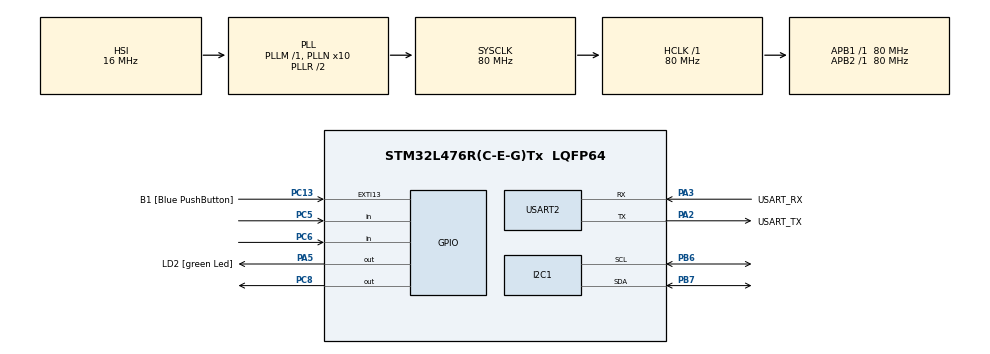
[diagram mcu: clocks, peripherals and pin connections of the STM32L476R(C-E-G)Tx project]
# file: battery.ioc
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I2C1.Timing=0x10D19CE4
Mcu.Family=STM32L4
Mcu.Name=STM32L476R(C-E-G)Tx
Mcu.Package=LQFP64
NVIC.PriorityGroup=NVIC_PRIORITYGROUP_4
PA13\ (JTMS-SWDIO).GPIO_Label=TMS
PA13\ (JTMS-SWDIO).Mode=Serial_Wire
PA13\ (JTMS-SWDIO).Signal=SYS_JTMS-SWDIO
PA14\ (JTCK-SWCLK).GPIO_Label=TCK
PA14\ (JTCK-SWCLK).Mode=Serial_Wire
PA14\ (JTCK-SWCLK).Signal=SYS_JTCK-SWCLK
PA2.GPIO_Label=USART_TX
PA2.GPIO_Mode=GPIO_MODE_AF_PP
PA2.GPIO_PuPd=GPIO_NOPULL
PA2.GPIO_Speed=GPIO_SPEED_FREQ_VERY_HIGH
PA2.Mode=Asynchronous
PA2.Signal=USART2_TX
PA3.GPIO_Label=USART_RX
PA3.GPIO_Mode=GPIO_MODE_AF_PP
PA3.GPIO_PuPd=GPIO_NOPULL
PA3.GPIO_Speed=GPIO_SPEED_FREQ_VERY_HIGH
PA3.Mode=Asynchronous
PA3.Signal=USART2_RX
PA5.GPIO_Label=LD2 [green Led]
PA5.GPIO_ModeDefaultOutputPP=GPIO_MODE_OUTPUT_PP
PA5.GPIO_PuPd=GPIO_NOPULL
PA5.GPIO_Speed=GPIO_SPEED_FREQ_LOW
PA5.Signal=GPIO_Output
PB3\ (JTDO-TRACESWO).GPIO_Label=SWO
PB3\ (JTDO-TRACESWO).Signal=SYS_JTDO-SWO
PB6.GPIO_Pu=GPIO_PULLUP
PB6.Mode=I2C
PB6.Signal=I2C1_SCL
PB7.GPIO_Pu=GPIO_PULLUP
PB7.Mode=I2C
PB7.Signal=I2C1_SDA
PC13.GPIO_Label=B1 [Blue PushButton]
PC13.GPIO_ModeDefaultEXTI=GPIO_MODE_IT_FALLING
PC13.GPIO_PuPd=GPIO_NOPULL
PC13.Signal=GPXTI13
PC14-OSC32_IN\ (PC14).Mode=LSE-External-Oscillator
PC14-OSC32_IN\ (PC14).Signal=RCC_OSC32_IN
PC15-OSC32_OUT\ (PC15).Mode=LSE-External-Oscillator
PC15-OSC32_OUT\ (PC15).Signal=RCC_OSC32_OUT
PC5.GPIO_PuPd=GPIO_NOPULL
PC5.Signal=GPIO_Input
PC6.GPIO_PuPd=GPIO_NOPULL
PC6.Signal=GPIO_Input
PC8.GPIO_ModeDefaultOutputPP=GPIO_MODE_OUTPUT_PP
PC8.GPIO_PuPd=GPIO_PULLDOWN
PC8.Signal=GPIO_Output
PH0-OSC_IN\ (PH0).Signal=RCC_OSC_IN
PH1-OSC_OUT\ (PH1).Signal=RCC_OSC_OUT
ProjectManager.HeapSize=0x200
ProjectManager.StackSize=0x400
ProjectManager.TargetToolchain=STM32CubeIDE
RCC.ADCFreq_Value=64000000
RCC.AHBFreq_Value=80000000
RCC.APB1Freq_Value=80000000
RCC.APB1TimFreq_Value=80000000
RCC.APB2Freq_Value=80000000
RCC.APB2TimFreq_Value=80000000
RCC.CortexFreq_Value=80000000
RCC.HCLKFreq_Value=80000000
RCC.HSE_VALUE=8000000
RCC.HSI_VALUE=16000000
RCC.MSI_VALUE=4000000
RCC.PLLN=10
RCC.PLLSourceVirtual=RCC_PLLSOURCE_HSI
RCC.PREFETCH_ENABLE=1
RCC.SYSCLKFreq_VALUE=80000000
RCC.SYSCLKSource=RCC_SYSCLKSOURCE_PLLCLK
RCC.USBFreq_Value=64000000
RCC.VCOOutputFreq_Value=160000000
USART2.VirtualMode-Asynchronous=VM_ASYNC
board=NUCLEO-L476RG

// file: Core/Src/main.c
/* USER CODE BEGIN Header */
/**
  ******************************************************************************
  * @file           : main.c
  * @brief          : Main program body
  ******************************************************************************
  * @attention
  *
  * Copyright (c) 2025 STMicroelectronics.
  * All rights reserved.
  *
  * This software is licensed under terms that can be found in the LICENSE file
  * in the root directory of this software component.
  * If no LICENSE file comes with this software, it is provided AS-IS.
  *
  ******************************************************************************
  */
/* USER CODE END Header */
#include "main.h"

/* USER CODE BEGIN Includes */
#include <string.h>
#include <stdio.h>
/* USER CODE END Includes */

/* USER CODE BEGIN PTD */
#define INA219_ADDRESS 	0x40
// Calibration value for the INA219 (calculated based on your setup)
#define INA219_CALIBRATION_VALUE 0xA3D3	 // For 0.1 ohm shunt resistor and 3.2A max current
/* USER CODE END PTD */

I2C_HandleTypeDef hi2c1;

UART_HandleTypeDef huart2;

void SystemClock_Config(void);
static void MX_GPIO_Init(void);
static void MX_USART2_UART_Init(void);
static void MX_I2C1_Init(void);
/* USER CODE BEGIN PFP */
void INA219_WriteRegister(uint8_t reg, uint16_t value);
uint16_t INA219_ReadRegister(uint8_t reg);
void INA219_SetCalibration(void);
float INA219_GetCurrent(void);
float INA219_GetBusVoltage(void);
float INA219_GetPower(void);
/* USER CODE END PFP */

/* USER CODE BEGIN 0 */
char msg [60];
/* USER CODE END 0 */

int main(void)
{

  /* MCU Configuration--------------------------------------------------------*/

  /* Reset of all peripherals, Initializes the Flash interface and the Systick. */
  HAL_Init();

  /* Configure the system clock */
  SystemClock_Config();

  /* Initialize all configured peripherals */
  MX_GPIO_Init();
  MX_USART2_UART_Init();
  MX_I2C1_Init();
  /* USER CODE BEGIN 2 */
  INA219_SetCalibration();  // Configure the INA219
  /* USER CODE END 2 */

  /* Infinite loop */
  while (1)
  {

    /* USER CODE BEGIN 3 */
	  float current = INA219_GetCurrent();
	  float voltage = INA219_GetBusVoltage();
	  float power = INA219_GetPower();

	  snprintf(msg, sizeof(msg), "I: %.4f, V: %.2f, P: %.2f \n", current, voltage, power);
	  HAL_Delay(100);
	  HAL_UART_Transmit(&huart2, (uint8_t*)msg, strlen(msg), HAL_MAX_DELAY);

	  if (HAL_GPIO_ReadPin (GPIOC, GPIO_PIN_5)){
		  HAL_GPIO_WritePin(LD2_GPIO_Port, LD2_Pin, GPIO_PIN_SET);
		  if (HAL_GPIO_ReadPin (GPIOC, GPIO_PIN_6)){
			  HAL_GPIO_WritePin(GPIOC, GPIO_PIN_8, GPIO_PIN_SET);
			  HAL_GPIO_TogglePin(LD2_GPIO_Port, LD2_Pin);
		  }
	  }
	  else{
		  HAL_GPIO_WritePin(GPIOC, GPIO_PIN_8, GPIO_PIN_RESET);
		  HAL_GPIO_WritePin(LD2_GPIO_Port, LD2_Pin, GPIO_PIN_RESET);
	  }
  }
  /* USER CODE END 3 */
}

void SystemClock_Config(void)
{
  RCC_OscInitTypeDef RCC_OscInitStruct = {0};
  RCC_ClkInitTypeDef RCC_ClkInitStruct = {0};

  /** Configure the main internal regulator output voltage
  */
  if (HAL_PWREx_ControlVoltageScaling(PWR_REGULATOR_VOLTAGE_SCALE1) != HAL_OK)
  {
    Error_Handler();
  }

  /** Initializes the RCC Oscillators according to the specified parameters
  * in the RCC_OscInitTypeDef structure.
  */
  RCC_OscInitStruct.OscillatorType = RCC_OSCILLATORTYPE_HSI;
  RCC_OscInitStruct.HSIState = RCC_HSI_ON;
  RCC_OscInitStruct.HSICalibrationValue = RCC_HSICALIBRATION_DEFAULT;
  RCC_OscInitStruct.PLL.PLLState = RCC_PLL_ON;
  RCC_OscInitStruct.PLL.PLLSource = RCC_PLLSOURCE_HSI;
  RCC_OscInitStruct.PLL.PLLM = 1;
  RCC_OscInitStruct.PLL.PLLN = 10;
  RCC_OscInitStruct.PLL.PLLP = RCC_PLLP_DIV7;
  RCC_OscInitStruct.PLL.PLLQ = RCC_PLLQ_DIV2;
  RCC_OscInitStruct.PLL.PLLR = RCC_PLLR_DIV2;
  if (HAL_RCC_OscConfig(&RCC_OscInitStruct) != HAL_OK)
  {
    Error_Handler();
  }

  /** Initializes the CPU, AHB and APB buses clocks
  */
  RCC_ClkInitStruct.ClockType = RCC_CLOCKTYPE_HCLK|RCC_CLOCKTYPE_SYSCLK
                              |RCC_CLOCKTYPE_PCLK1|RCC_CLOCKTYPE_PCLK2;
  RCC_ClkInitStruct.SYSCLKSource = RCC_SYSCLKSOURCE_PLLCLK;
  RCC_ClkInitStruct.AHBCLKDivider = RCC_SYSCLK_DIV1;
  RCC_ClkInitStruct.APB1CLKDivider = RCC_HCLK_DIV1;
  RCC_ClkInitStruct.APB2CLKDivider = RCC_HCLK_DIV1;

  if (HAL_RCC_ClockConfig(&RCC_ClkInitStruct, FLASH_LATENCY_4) != HAL_OK)
  {
    Error_Handler();
  }
}

static void MX_I2C1_Init(void)
{

  hi2c1.Instance = I2C1;
  hi2c1.Init.Timing = 0x10D19CE4;
  hi2c1.Init.OwnAddress1 = 0;
  hi2c1.Init.AddressingMode = I2C_ADDRESSINGMODE_7BIT;
  hi2c1.Init.DualAddressMode = I2C_DUALADDRESS_DISABLE;
  hi2c1.Init.OwnAddress2 = 0;
  hi2c1.Init.OwnAddress2Masks = I2C_OA2_NOMASK;
  hi2c1.Init.GeneralCallMode = I2C_GENERALCALL_DISABLE;
  hi2c1.Init.NoStretchMode = I2C_NOSTRETCH_DISABLE;
  if (HAL_I2C_Init(&hi2c1) != HAL_OK)
  {
    Error_Handler();
  }

  /** Configure Analogue filter
  */
  if (HAL_I2CEx_ConfigAnalogFilter(&hi2c1, I2C_ANALOGFILTER_ENABLE) != HAL_OK)
  {
    Error_Handler();
  }

  /** Configure Digital filter
  */
  if (HAL_I2CEx_ConfigDigitalFilter(&hi2c1, 0) != HAL_OK)
  {
    Error_Handler();
  }

}

static void MX_USART2_UART_Init(void)
{

  huart2.Instance = USART2;
  huart2.Init.BaudRate = 115200;
  huart2.Init.WordLength = UART_WORDLENGTH_8B;
  huart2.Init.StopBits = UART_STOPBITS_1;
  huart2.Init.Parity = UART_PARITY_NONE;
  huart2.Init.Mode = UART_MODE_TX_RX;
  huart2.Init.HwFlowCtl = UART_HWCONTROL_NONE;
  huart2.Init.OverSampling = UART_OVERSAMPLING_16;
  huart2.Init.OneBitSampling = UART_ONE_BIT_SAMPLE_DISABLE;
  huart2.AdvancedInit.AdvFeatureInit = UART_ADVFEATURE_NO_INIT;
  if (HAL_UART_Init(&huart2) != HAL_OK)
  {
    Error_Handler();
  }

}

static void MX_GPIO_Init(void)
{
  GPIO_InitTypeDef GPIO_InitStruct = {0};

  /* GPIO Ports Clock Enable */
  __HAL_RCC_GPIOC_CLK_ENABLE();
  __HAL_RCC_GPIOH_CLK_ENABLE();
  __HAL_RCC_GPIOA_CLK_ENABLE();
  __HAL_RCC_GPIOB_CLK_ENABLE();

  /*Configure GPIO pin Output Level */
  HAL_GPIO_WritePin(LD2_GPIO_Port, LD2_Pin, GPIO_PIN_RESET);

  /*Configure GPIO pin Output Level */
  HAL_GPIO_WritePin(GPIOC, GPIO_PIN_8, GPIO_PIN_RESET);

  /*Configure GPIO pin : B1_Pin */
  GPIO_InitStruct.Pin = B1_Pin;
  GPIO_InitStruct.Mode = GPIO_MODE_IT_FALLING;
  GPIO_InitStruct.Pull = GPIO_NOPULL;
  HAL_GPIO_Init(B1_GPIO_Port, &GPIO_InitStruct);

  /*Configure GPIO pin : LD2_Pin */
  GPIO_InitStruct.Pin = LD2_Pin;
  GPIO_InitStruct.Mode = GPIO_MODE_OUTPUT_PP;
  GPIO_InitStruct.Pull = GPIO_NOPULL;
  GPIO_InitStruct.Speed = GPIO_SPEED_FREQ_LOW;
  HAL_GPIO_Init(LD2_GPIO_Port, &GPIO_InitStruct);

  /*Configure GPIO pins : PC5 PC6 */
  GPIO_InitStruct.Pin = GPIO_PIN_5|GPIO_PIN_6;
  GPIO_InitStruct.Mode = GPIO_MODE_INPUT;
  GPIO_InitStruct.Pull = GPIO_NOPULL;
  HAL_GPIO_Init(GPIOC, &GPIO_InitStruct);

  /*Configure GPIO pin : PC8 */
  GPIO_InitStruct.Pin = GPIO_PIN_8;
  GPIO_InitStruct.Mode = GPIO_MODE_OUTPUT_PP;
  GPIO_InitStruct.Pull = GPIO_PULLDOWN;
  GPIO_InitStruct.Speed = GPIO_SPEED_FREQ_LOW;
  HAL_GPIO_Init(GPIOC, &GPIO_InitStruct);

}

/* USER CODE BEGIN 4 */
/**
 * @brief Write a 16-bit value to an INA219 register
 * @param reg Register address
 * @param value 16-bit value to write
 */
void INA219_WriteRegister(uint8_t reg, uint16_t value) {
    uint8_t data[3];
    data[0] = reg;                 // Register address
    data[1] = (value >> 8) & 0xFF; // High byte
    data[2] = value & 0xFF;        // Low byte
    HAL_I2C_Master_Transmit(&hi2c1, (INA219_ADDRESS << 1), data, 3, HAL_MAX_DELAY);
}

/**
 * @brief Read a 16-bit value from an INA219 register
 * @param reg Register address
 * @return 16-bit value read from the register
 */
uint16_t INA219_ReadRegister(uint8_t reg) {
    uint8_t data[2];
    HAL_I2C_Master_Transmit(&hi2c1, (INA219_ADDRESS << 1), &reg, 1, HAL_MAX_DELAY);
    HAL_I2C_Master_Receive(&hi2c1, (INA219_ADDRESS << 1), data, 2, HAL_MAX_DELAY);
    return (data[0] << 8) | data[1];
}

/**
 * @brief Set the INA219 calibration value
 */
void INA219_SetCalibration(void) {
    // Write the calibration value to the Calibration Register (0x05)
    INA219_WriteRegister(0x05, INA219_CALIBRATION_VALUE);

    // Configure the INA219 mode and settings in the Configuration Register (0x00)
    uint16_t config = 0x399F;  // Example: 32V bus, 320mV range, 12-bit ADC, continuous mode
    INA219_WriteRegister(0x00, config);
}

/**
 * @brief Get the current in amps
 * @return Current in amps
 */
float INA219_GetCurrent(void) {
    // Read the Shunt Voltage Register (0x01)
    int16_t shunt_voltage = (int16_t)INA219_ReadRegister(0x01); // Signed value in µV

    // Calculate current: I = V_shunt / R_shunt
    float current = (shunt_voltage * 0.000001) / 0.1;  // µV to V, R_shunt = 0.1 ohm
    return current;
}

/**
 * @brief Get the bus voltage in volts
 * @return Bus voltage in volts
 */
float INA219_GetBusVoltage(void) {
    // Read the Bus Voltage Register (0x02)
    uint16_t bus_voltage = INA219_ReadRegister(0x02);

    // Extract the bus voltage value (shift by 3 bits, as the lowest 3 bits are not voltage data)
    float voltage = (bus_voltage >> 3) * 0.004;  // 4mV per bit
    return voltage;
}

/**
 * @brief Get the power in watts
 * @return Power in watts
 */
float INA219_GetPower(void) {
    // Read the Power Register (0x03)
    uint16_t power = INA219_ReadRegister(0x03);

    // Power value is in milliwatts
    return power * 0.02;  // Convert to watts (20mW per bit)
}
/* USER CODE END 4 */

void Error_Handler(void)
{
  __disable_irq();
  while (1)
  {
  }
}
